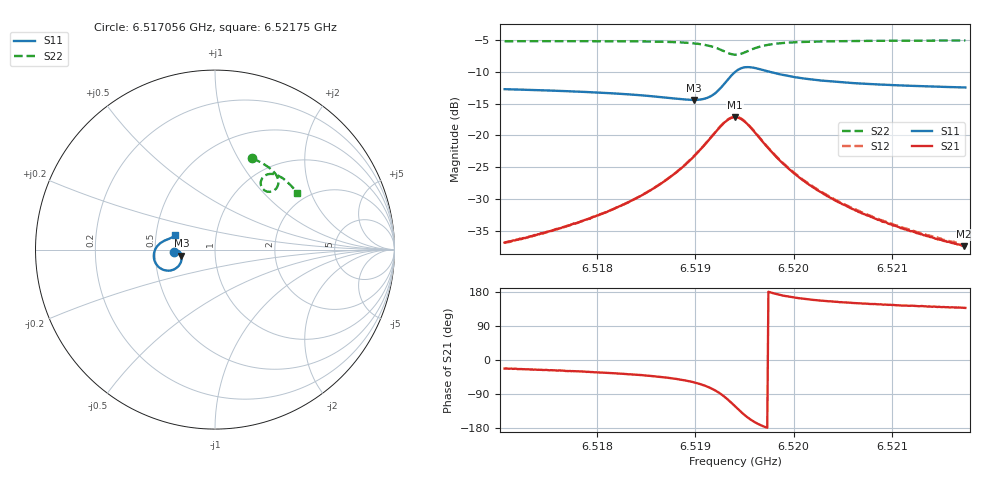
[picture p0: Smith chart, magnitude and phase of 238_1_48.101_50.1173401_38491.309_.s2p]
#  HZ  S  RI  R  50.00
! Rohde & Schwarz Vector Network Analyzer
! Rohde-Schwarz,ZNB20-2Port,1311601062101988,3.16
! Created: UTC 12/23/2023, 3:58:28 AM
! freq[Hz]  re:S11  im:S11  re:S21  im:S21  re:S12  im:S12  re:S22  im:S22
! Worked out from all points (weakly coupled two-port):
!   401 points, 6.517056 GHz to 6.52175 GHz, reference 50 ohm
!   highest |S21| = -17.16 dB at 6.519403 GHz (marker M1); lowest = -37.4 dB at 6.521738 GHz (marker M2)
!   lowest |S11| = -14.4 dB at 6.51898 GHz (marker M3), VSWR 1.47, Z = 34.2 - j2.43 ohm
!   |S11| at or under -10 dB: start of sweep to 6.519407 GHz; 6.519751 GHz to end of sweep
!   |S22| runs from -7.3 to -5.1 dB; largest |S21 - S12| = 0.0042
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6.517056e9  -0.2299 -0.0161  0.0133 -0.00554  0.0134 -0.00492  0.2072 0.5078
6.5174667e9  -0.2252 -0.0101  0.0155 -0.00761  0.0156 -0.00723  0.2373 0.4949
6.5178422e9  -0.2196 -0.00597  0.0183 -0.0109  0.0184 -0.0103  0.2652 0.4805
6.5182881e9  -0.2106 -0.00413  0.0233 -0.0175  0.0239 -0.0168  0.2986 0.4589
6.5186284e9  -0.2002 -0.00892  0.0292 -0.0285  0.0302 -0.0277  0.325 0.4363
6.5188162e9  -0.1928 -0.0176  0.0331 -0.0401  0.0346 -0.0393  0.3394 0.4181
6.5189805e9  -0.1867 -0.0342  0.0351 -0.058  0.0371 -0.0572  0.3504 0.3953
6.5190861e9  -0.186 -0.053  0.0327 -0.0762  0.035 -0.0757  0.3531 0.3749
6.5191799e9  -0.1934 -0.0772  0.022 -0.0983  0.0251 -0.0983  0.3481 0.3516
6.519309e9  -0.2365 -0.1134  -0.0218 -0.1269  -0.0182 -0.1286  0.3147 0.3233
6.5194029e9  -0.2945 -0.1098  -0.0735 -0.1176  -0.0707 -0.1207  0.2747 0.3306
6.5194498e9  -0.3196 -0.0912  -0.094 -0.0987  -0.0919 -0.1023  0.2604 0.3468
6.5195085e9  -0.3376 -0.0596  -0.1063 -0.0692  -0.1052 -0.0728  0.2546 0.3712
6.5196141e9  -0.3369 -0.00889  -0.1003 -0.026  -0.1004 -0.0291  0.2691 0.4046
6.519708e9  -0.3222 0.0182  -0.0847 -0.00489  -0.0852 -0.00751  0.2896 0.4179
6.5199309e9  -0.2905 0.0452  -0.0551 0.0116  -0.056 0.0102  0.3294 0.42
6.5201891e9  -0.2688 0.0552  -0.0368 0.0141  -0.0377 0.0133  0.3599 0.4083
6.5205529e9  -0.2514 0.0621  -0.0242 0.0131  -0.0249 0.0126  0.3902 0.3876
6.5209753e9  -0.2393 0.0683  -0.0166 0.0114  -0.0172 0.0112  0.4177 0.3626
6.5214447e9  -0.2295 0.0747  -0.0119 0.0098  -0.0124 0.00977  0.4434 0.3342
6.5217381e9  -0.2244 0.0788  -0.00996 0.00909  -0.0104 0.00906  0.4577 0.3159
6.5217498e9  -0.2241 0.0788  -0.00994 0.00914  -0.0104 0.00891  0.4582 0.3151
